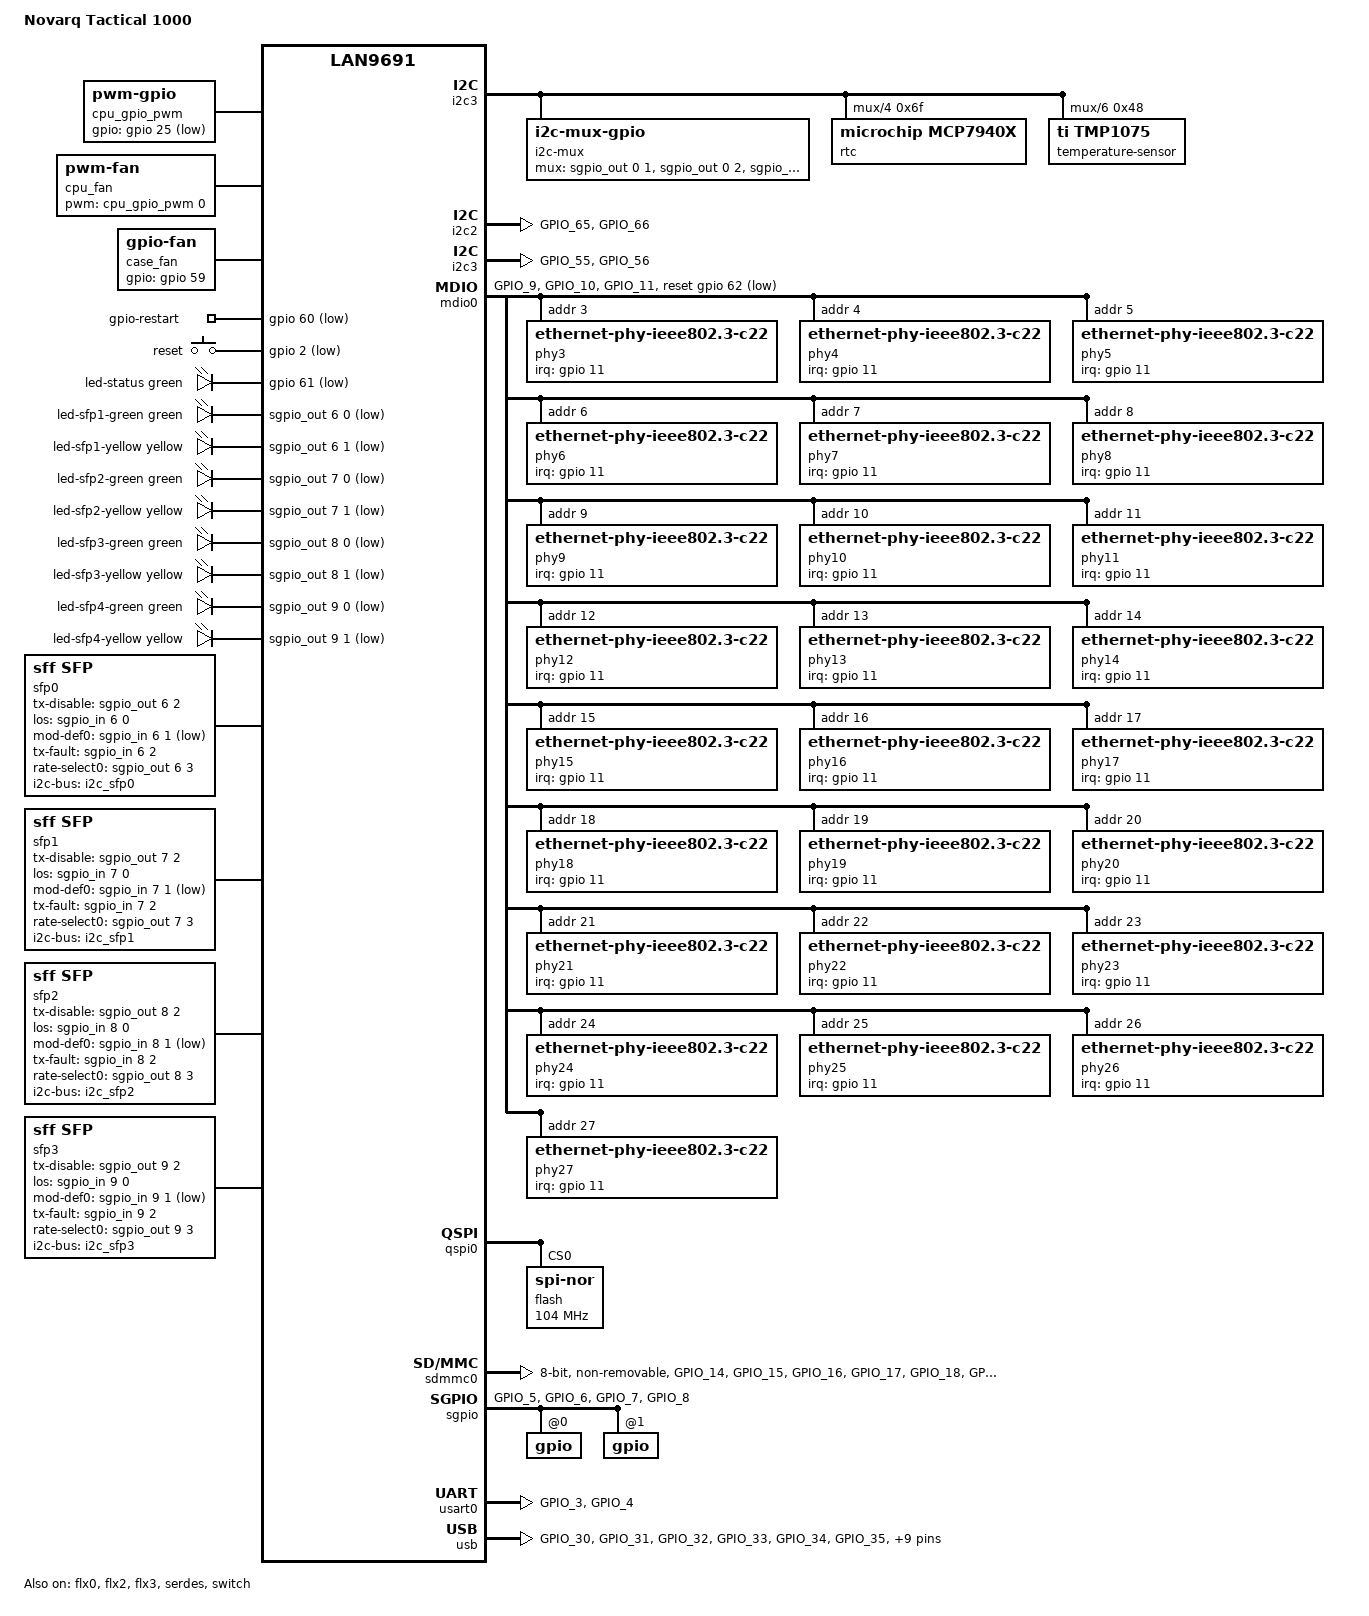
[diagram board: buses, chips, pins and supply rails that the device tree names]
// SPDX-License-Identifier: (GPL-2.0-or-later OR MIT)

/dts-v1/;

#include <dt-bindings/gpio/gpio.h>
#include <dt-bindings/input/input.h>
#include <dt-bindings/leds/common.h>
#include "lan9691.dtsi"

/ {
	model = "Novarq Tactical 1000";
	compatible = "novarq,tactical-1000", "microchip,lan9696", "microchip,lan9691";

	aliases {
		serial0 = &usart0;
	};

	chosen {
		stdout-path = "serial0:115200n8";
	};

	cpu_gpio_pwm: pwm {
		compatible = "pwm-gpio";
		gpios = <&gpio 25 GPIO_ACTIVE_LOW>;
		#pwm-cells = <3>;
	};

	cpu_fan: cpu-pwm-fan {
		compatible = "pwm-fan";
		pinctrl-names = "default";
		pinctrl-0 = <&fan_pins>;
		pwms = <&cpu_gpio_pwm 0 40000 0>;
	};

	case_fan: case-gpio-fan {
		compatible = "gpio-fan";
		#cooling-cells = <2>;
		gpios = <&gpio 59 GPIO_ACTIVE_HIGH>;
		gpio-fan,speed-map = <0	0>,
				     <2000 1>;
	};

	gpio-restart {
		compatible = "gpio-restart";
		gpios = <&gpio 60 GPIO_ACTIVE_LOW>;
		open-source;
		priority = <200>;
	};

	i2c-mux {
		compatible = "i2c-mux-gpio";
		#address-cells = <1>;
		#size-cells = <0>;
		i2c-parent = <&i2c3>;
		idle-state = <0x8>;
		mux-gpios = <&sgpio_out 0 1 GPIO_ACTIVE_HIGH>,
			    <&sgpio_out 0 2 GPIO_ACTIVE_HIGH>,
			    <&sgpio_out 0 3 GPIO_ACTIVE_HIGH>;
		settle-time-us = <100>;

		i2c_sfp2: i2c@0 {
			reg = <0x0>;
		};

		i2c_sfp1: i2c@1 {
			reg = <0x1>;
		};

		i2c_sfp0: i2c@2 {
			reg = <0x2>;
		};

		i2c_sfp3: i2c@3 {
			reg = <0x3>;
		};

		i2c_rtc: i2c@4 {
			reg = <0x4>;
			#address-cells = <1>;
			#size-cells = <0>;

			rtc@6f {
				compatible = "microchip,mcp7940x";
				reg = <0x6f>;
			};
		};

		i2c_tmp: i2c@6 {
			reg = <0x6>;
			#address-cells = <1>;
			#size-cells = <0>;

			temperature-sensor@48 {
				compatible = "ti,tmp1075";
				reg = <0x48>;
			};
		};

		i2c_poe: i2c@7 {
			reg = <0x7>;
		};
	};

	keys {
		compatible = "gpio-keys";
		pinctrl-0 = <&button_pins>;
		pinctrl-names = "default";

		key-reset {
			label = "reset";
			gpios = <&gpio 2 GPIO_ACTIVE_LOW>;
			linux,code = <KEY_RESTART>;
		};
	};

	leds {
		compatible = "gpio-leds";

		led-status {
			color = <LED_COLOR_ID_GREEN>;
			function = LED_FUNCTION_STATUS;
			gpios = <&gpio 61 GPIO_ACTIVE_LOW>;
			default-state = "on";
		};

		led-sfp1-green {
			color = <LED_COLOR_ID_GREEN>;
			function = LED_FUNCTION_LAN;
			function-enumerator = <0>;
			gpios = <&sgpio_out 6 0 GPIO_ACTIVE_LOW>;
			default-state = "off";
		};

		led-sfp1-yellow {
			color = <LED_COLOR_ID_YELLOW>;
			function = LED_FUNCTION_LAN;
			function-enumerator = <0>;
			gpios = <&sgpio_out 6 1 GPIO_ACTIVE_LOW>;
			default-state = "off";
		};

		led-sfp2-green {
			color = <LED_COLOR_ID_GREEN>;
			function = LED_FUNCTION_LAN;
			function-enumerator = <1>;
			gpios = <&sgpio_out 7 0 GPIO_ACTIVE_LOW>;
			default-state = "off";
		};

		led-sfp2-yellow {
			color = <LED_COLOR_ID_YELLOW>;
			function = LED_FUNCTION_LAN;
			function-enumerator = <1>;
			gpios = <&sgpio_out 7 1 GPIO_ACTIVE_LOW>;
			default-state = "off";
		};

		led-sfp3-green {
			color = <LED_COLOR_ID_GREEN>;
			function = LED_FUNCTION_LAN;
			function-enumerator = <2>;
			gpios = <&sgpio_out 8 0 GPIO_ACTIVE_LOW>;
			default-state = "off";
		};

		led-sfp3-yellow {
			color = <LED_COLOR_ID_YELLOW>;
			function = LED_FUNCTION_LAN;
			function-enumerator = <2>;
			gpios = <&sgpio_out 8 1 GPIO_ACTIVE_LOW>;
			default-state = "off";
		};

		led-sfp4-green {
			color = <LED_COLOR_ID_GREEN>;
			function = LED_FUNCTION_LAN;
			function-enumerator = <3>;
			gpios = <&sgpio_out 9 0 GPIO_ACTIVE_LOW>;
			default-state = "off";
		};

		led-sfp4-yellow {
			color = <LED_COLOR_ID_YELLOW>;
			function = LED_FUNCTION_LAN;
			function-enumerator = <3>;
			gpios = <&sgpio_out 9 1 GPIO_ACTIVE_LOW>;
			default-state = "off";
		};
	};

	sfp0: sfp0 {
		compatible = "sff,sfp";
		i2c-bus = <&i2c_sfp0>;
		tx-disable-gpios = <&sgpio_out 6 2 GPIO_ACTIVE_HIGH>;
		los-gpios = <&sgpio_in 6 0 GPIO_ACTIVE_HIGH>;
		mod-def0-gpios = <&sgpio_in 6 1 GPIO_ACTIVE_LOW>;
		tx-fault-gpios = <&sgpio_in 6 2 GPIO_ACTIVE_HIGH>;
		/* RS1 is internally tied to RS0 */
		rate-select0-gpios = <&sgpio_out 6 3 GPIO_ACTIVE_HIGH>;
	};

	sfp1: sfp1 {
		compatible = "sff,sfp";
		i2c-bus = <&i2c_sfp1>;
		tx-disable-gpios = <&sgpio_out 7 2 GPIO_ACTIVE_HIGH>;
		los-gpios = <&sgpio_in 7 0 GPIO_ACTIVE_HIGH>;
		mod-def0-gpios = <&sgpio_in 7 1 GPIO_ACTIVE_LOW>;
		tx-fault-gpios = <&sgpio_in 7 2 GPIO_ACTIVE_HIGH>;
		/* RS1 is internally tied to RS0 */
		rate-select0-gpios = <&sgpio_out 7 3 GPIO_ACTIVE_HIGH>;
	};

	sfp2: sfp2 {
		compatible = "sff,sfp";
		i2c-bus = <&i2c_sfp2>;
		tx-disable-gpios = <&sgpio_out 8 2 GPIO_ACTIVE_HIGH>;
		los-gpios = <&sgpio_in 8 0 GPIO_ACTIVE_HIGH>;
		mod-def0-gpios = <&sgpio_in 8 1 GPIO_ACTIVE_LOW>;
		tx-fault-gpios = <&sgpio_in 8 2 GPIO_ACTIVE_HIGH>;
		/* RS1 is internally tied to RS0 */
		rate-select0-gpios = <&sgpio_out 8 3 GPIO_ACTIVE_HIGH>;
	};

	sfp3: sfp3 {
		compatible = "sff,sfp";
		i2c-bus = <&i2c_sfp3>;
		tx-disable-gpios = <&sgpio_out 9 2 GPIO_ACTIVE_HIGH>;
		los-gpios = <&sgpio_in 9 0 GPIO_ACTIVE_HIGH>;
		mod-def0-gpios = <&sgpio_in 9 1 GPIO_ACTIVE_LOW>;
		tx-fault-gpios = <&sgpio_in 9 2 GPIO_ACTIVE_HIGH>;
		/* RS1 is internally tied to RS0 */
		rate-select0-gpios = <&sgpio_out 9 3 GPIO_ACTIVE_HIGH>;
	};
};

&gpio {
	button_pins: button-pins {
		pins = "GPIO_2";
		function = "gpio";
	};

	case_fan_pins: case-fan-pins {
		pins = "GPIO_59";
		function = "gpio";
	};

	emmc_sd_pins: emmc-sd-pins {
		/* eMMC_SD - CMD, CLK, D0, D1, D2, D3, D4, D5, D6, D7, RSTN */
		pins = "GPIO_14", "GPIO_15", "GPIO_16", "GPIO_17",
		       "GPIO_18", "GPIO_19", "GPIO_20", "GPIO_21",
		       "GPIO_22", "GPIO_23", "GPIO_24";
		function = "emmc_sd";
	};

	fan_pins: fan-pins {
		pins = "GPIO_25", "GPIO_26";
		function = "gpio";
	};

	fc0_pins: fc0-pins {
		pins = "GPIO_3", "GPIO_4";
		function = "fc";
	};


	fc2_pins: fc2-pins {
		pins = "GPIO_65", "GPIO_66";
		function = "fc";
	};

	fc3_pins: fc3-pins {
		pins = "GPIO_55", "GPIO_56";
		function = "fc";
	};

	mdio_pins: mdio-pins {
		pins = "GPIO_9", "GPIO_10";
		function = "miim";
	};

	mdio_irq_pins: mdio-irq-pins {
		pins = "GPIO_11";
		function = "miim_irq";
	};

	sgpio_pins: sgpio-pins {
		/* SCK, D0, D1, LD */
		pins = "GPIO_5", "GPIO_6", "GPIO_7", "GPIO_8";
		function = "sgpio_a";
	};

	usb_ulpi_pins: usb-ulpi-pins {
		pins = "GPIO_30", "GPIO_31", "GPIO_32", "GPIO_33",
		       "GPIO_34", "GPIO_35", "GPIO_36", "GPIO_37",
		       "GPIO_38", "GPIO_39", "GPIO_40", "GPIO_41";
		function = "usb_ulpi";
	};

	usb_rst_pins: usb-rst-pins {
		pins = "GPIO_12";
		function = "usb2phy_rst";
	};

	usb_over_pins: usb-over-pins {
		pins = "GPIO_13";
		function = "usb_over_detect";
	};

	usb_power_pins: usb-power-pins {
		pins = "GPIO_1";
		function = "usb_power";
	};
};

&flx0 {
	atmel,flexcom-mode = <ATMEL_FLEXCOM_MODE_USART>;
	status = "okay";
};

&flx2 {
	atmel,flexcom-mode = <ATMEL_FLEXCOM_MODE_TWI>;
	status = "okay";
};

&flx3 {
	atmel,flexcom-mode = <ATMEL_FLEXCOM_MODE_TWI>;
	status = "okay";
};

&i2c2 {
	pinctrl-0 = <&fc2_pins>;
	pinctrl-names = "default";
	i2c-analog-filter;
	i2c-digital-filter;
	i2c-digital-filter-width-ns = <35>;
	i2c-sda-hold-time-ns = <1500>;
	status = "okay";

	/* ATECC608C lives here on 0x60 */
};

&i2c3 {
	pinctrl-0 = <&fc3_pins>;
	pinctrl-names = "default";
	i2c-analog-filter;
	i2c-digital-filter;
	i2c-digital-filter-width-ns = <35>;
	i2c-sda-hold-time-ns = <1500>;
	status = "okay";
};

&mdio0 {
	pinctrl-0 = <&mdio_pins>, <&mdio_irq_pins>;
	pinctrl-names = "default";
	reset-gpios = <&gpio 62 GPIO_ACTIVE_LOW>;
	status = "okay";

	phy3: phy@3 {
		compatible = "ethernet-phy-ieee802.3-c22";
		reg = <3>;
		interrupts = <11 IRQ_TYPE_LEVEL_LOW>;
		interrupt-parent = <&gpio>;
	};

	phy4: phy@4 {
		compatible = "ethernet-phy-ieee802.3-c22";
		reg = <4>;
		interrupts = <11 IRQ_TYPE_LEVEL_LOW>;
		interrupt-parent = <&gpio>;
	};

	phy5: phy@5 {
		compatible = "ethernet-phy-ieee802.3-c22";
		reg = <5>;
		interrupts = <11 IRQ_TYPE_LEVEL_LOW>;
		interrupt-parent = <&gpio>;
	};

	phy6: phy@6 {
		compatible = "ethernet-phy-ieee802.3-c22";
		reg = <6>;
		interrupts = <11 IRQ_TYPE_LEVEL_LOW>;
		interrupt-parent = <&gpio>;
	};

	phy7: phy@7 {
		compatible = "ethernet-phy-ieee802.3-c22";
		reg = <7>;
		interrupts = <11 IRQ_TYPE_LEVEL_LOW>;
		interrupt-parent = <&gpio>;
	};

	phy8: phy@8 {
		compatible = "ethernet-phy-ieee802.3-c22";
		reg = <8>;
		interrupts = <11 IRQ_TYPE_LEVEL_LOW>;
		interrupt-parent = <&gpio>;
	};

	phy9: phy@9 {
		compatible = "ethernet-phy-ieee802.3-c22";
		reg = <9>;
		interrupts = <11 IRQ_TYPE_LEVEL_LOW>;
		interrupt-parent = <&gpio>;
	};

	phy10: phy@10 {
		compatible = "ethernet-phy-ieee802.3-c22";
		reg = <10>;
		interrupts = <11 IRQ_TYPE_LEVEL_LOW>;
		interrupt-parent = <&gpio>;
	};

	phy11: phy@11 {
		compatible = "ethernet-phy-ieee802.3-c22";
		reg = <11>;
		interrupts = <11 IRQ_TYPE_LEVEL_LOW>;
		interrupt-parent = <&gpio>;
	};

	phy12: phy@12 {
		compatible = "ethernet-phy-ieee802.3-c22";
		reg = <12>;
		interrupts = <11 IRQ_TYPE_LEVEL_LOW>;
		interrupt-parent = <&gpio>;
	};

	phy13: phy@13 {
		compatible = "ethernet-phy-ieee802.3-c22";
		reg = <13>;
		interrupts = <11 IRQ_TYPE_LEVEL_LOW>;
		interrupt-parent = <&gpio>;
	};

	phy14: phy@14 {
		compatible = "ethernet-phy-ieee802.3-c22";
		reg = <14>;
		interrupts = <11 IRQ_TYPE_LEVEL_LOW>;
		interrupt-parent = <&gpio>;
	};

	phy15: phy@15 {
		compatible = "ethernet-phy-ieee802.3-c22";
		reg = <15>;
		interrupts = <11 IRQ_TYPE_LEVEL_LOW>;
		interrupt-parent = <&gpio>;
	};

	phy16: phy@16 {
		compatible = "ethernet-phy-ieee802.3-c22";
		reg = <16>;
		interrupts = <11 IRQ_TYPE_LEVEL_LOW>;
		interrupt-parent = <&gpio>;
	};

	phy17: phy@17 {
		compatible = "ethernet-phy-ieee802.3-c22";
		reg = <17>;
		interrupts = <11 IRQ_TYPE_LEVEL_LOW>;
		interrupt-parent = <&gpio>;
	};

	phy18: phy@18 {
		compatible = "ethernet-phy-ieee802.3-c22";
		reg = <18>;
		interrupts = <11 IRQ_TYPE_LEVEL_LOW>;
		interrupt-parent = <&gpio>;
	};

	phy19: phy@19 {
		compatible = "ethernet-phy-ieee802.3-c22";
		reg = <19>;
		interrupts = <11 IRQ_TYPE_LEVEL_LOW>;
		interrupt-parent = <&gpio>;
	};

	phy20: phy@20 {
		compatible = "ethernet-phy-ieee802.3-c22";
		reg = <20>;
		interrupts = <11 IRQ_TYPE_LEVEL_LOW>;
		interrupt-parent = <&gpio>;
	};

	phy21: phy@21 {
		compatible = "ethernet-phy-ieee802.3-c22";
		reg = <21>;
		interrupts = <11 IRQ_TYPE_LEVEL_LOW>;
		interrupt-parent = <&gpio>;
	};

	phy22: phy@22 {
		compatible = "ethernet-phy-ieee802.3-c22";
		reg = <22>;
		interrupts = <11 IRQ_TYPE_LEVEL_LOW>;
		interrupt-parent = <&gpio>;
	};

	phy23: phy@23 {
		compatible = "ethernet-phy-ieee802.3-c22";
		reg = <23>;
		interrupts = <11 IRQ_TYPE_LEVEL_LOW>;
		interrupt-parent = <&gpio>;
	};

	phy24: phy@24 {
		compatible = "ethernet-phy-ieee802.3-c22";
		reg = <24>;
		interrupts = <11 IRQ_TYPE_LEVEL_LOW>;
		interrupt-parent = <&gpio>;
	};

	phy25: phy@25 {
		compatible = "ethernet-phy-ieee802.3-c22";
		reg = <25>;
		interrupts = <11 IRQ_TYPE_LEVEL_LOW>;
		interrupt-parent = <&gpio>;
	};

	phy26: phy@26 {
		compatible = "ethernet-phy-ieee802.3-c22";
		reg = <26>;
		interrupts = <11 IRQ_TYPE_LEVEL_LOW>;
		interrupt-parent = <&gpio>;
	};

	phy27: phy@27 {
		compatible = "ethernet-phy-ieee802.3-c22";
		reg = <27>;
		interrupts = <11 IRQ_TYPE_LEVEL_LOW>;
		interrupt-parent = <&gpio>;
	};
};

&qspi0 {
	status = "okay";

	flash@0 {
		compatible = "jedec,spi-nor";
		reg = <0>;
		spi-max-frequency = <104000000>;
		#address-cells = <1>;
		#size-cells = <1>;
		spi-tx-bus-width = <1>;
		spi-rx-bus-width = <4>;
		m25p,fast-read;
	};
};

&serdes {
	status = "okay";
};

&sdmmc0 {
	pinctrl-0 = <&emmc_sd_pins>;
	pinctrl-names = "default";
	bus-width = <8>;
	mmc-ddr-1_8v;
	non-removable;
	disable-wp;
	status = "okay";
};

&serdes {
	status = "okay";
};

&sgpio {
	pinctrl-0 = <&sgpio_pins>;
	pinctrl-names = "default";
	microchip,sgpio-port-ranges = <0 1>, <6 9>;
	status = "okay";

	gpio@0 {
		ngpios = <128>;
	};
	gpio@1 {
		ngpios = <128>;
	};
};

&switch {
	status = "okay";

	ethernet-ports {
		#address-cells = <1>;
		#size-cells = <0>;

		port0: port@0 {
			reg = <0>;
			phy-handle = <&phy4>;
			phy-mode = "qsgmii";
			phys = <&serdes 0>;
			microchip,bandwidth = <1000>;
			openwrt,netdev-name = "lan4";
		};

		port1: port@1 {
			reg = <1>;
			phy-handle = <&phy5>;
			phy-mode = "qsgmii";
			phys = <&serdes 0>;
			microchip,bandwidth = <1000>;
			openwrt,netdev-name = "lan3";
		};

		port2: port@2 {
			reg = <2>;
			phy-handle = <&phy6>;
			phy-mode = "qsgmii";
			phys = <&serdes 0>;
			microchip,bandwidth = <1000>;
			openwrt,netdev-name = "lan2";
		};

		port3: port@3 {
			reg = <3>;
			phy-handle = <&phy7>;
			phy-mode = "qsgmii";
			phys = <&serdes 0>;
			microchip,bandwidth = <1000>;
			openwrt,netdev-name = "lan1";
		};

		port4: port@4 {
			reg = <4>;
			phy-handle = <&phy8>;
			phy-mode = "qsgmii";
			phys = <&serdes 1>;
			microchip,bandwidth = <1000>;
			openwrt,netdev-name = "lan8";
		};

		port5: port@5 {
			reg = <5>;
			phy-handle = <&phy9>;
			phy-mode = "qsgmii";
			phys = <&serdes 1>;
			microchip,bandwidth = <1000>;
			openwrt,netdev-name = "lan7";
		};

		port6: port@6 {
			reg = <6>;
			phy-handle = <&phy10>;
			phy-mode = "qsgmii";
			phys = <&serdes 1>;
			microchip,bandwidth = <1000>;
			openwrt,netdev-name = "lan6";
		};

		port7: port@7 {
			reg = <7>;
			phy-handle = <&phy11>;
			phy-mode = "qsgmii";
			phys = <&serdes 1>;
			microchip,bandwidth = <1000>;
			openwrt,netdev-name = "lan5";
		};

		port8: port@8 {
			reg = <8>;
			phy-handle = <&phy12>;
			phy-mode = "qsgmii";
			phys = <&serdes 2>;
			microchip,bandwidth = <1000>;
			openwrt,netdev-name = "lan12";
		};

		port9: port@9 {
			reg = <9>;
			phy-handle = <&phy13>;
			phy-mode = "qsgmii";
			phys = <&serdes 2>;
			microchip,bandwidth = <1000>;
			openwrt,netdev-name = "lan11";
		};

		port10: port@10 {
			reg = <10>;
			phy-handle = <&phy14>;
			phy-mode = "qsgmii";
			phys = <&serdes 2>;
			microchip,bandwidth = <1000>;
			openwrt,netdev-name = "lan10";
		};

		port11: port@11 {
			reg = <11>;
			phy-handle = <&phy15>;
			phy-mode = "qsgmii";
			phys = <&serdes 2>;
			microchip,bandwidth = <1000>;
			openwrt,netdev-name = "lan9";
		};

		port12: port@12 {
			reg = <12>;
			phy-handle = <&phy16>;
			phy-mode = "qsgmii";
			phys = <&serdes 3>;
			microchip,bandwidth = <1000>;
			openwrt,netdev-name = "lan16";
		};

		port13: port@13 {
			reg = <13>;
			phy-handle = <&phy17>;
			phy-mode = "qsgmii";
			phys = <&serdes 3>;
			microchip,bandwidth = <1000>;
			openwrt,netdev-name = "lan15";
		};

		port14: port@14 {
			reg = <14>;
			phy-handle = <&phy18>;
			phy-mode = "qsgmii";
			phys = <&serdes 3>;
			microchip,bandwidth = <1000>;
			openwrt,netdev-name = "lan14";
		};

		port15: port@15 {
			reg = <15>;
			phy-handle = <&phy19>;
			phy-mode = "qsgmii";
			phys = <&serdes 3>;
			microchip,bandwidth = <1000>;
			openwrt,netdev-name = "lan13";
		};

		port16: port@16 {
			reg = <16>;
			phy-handle = <&phy20>;
			phy-mode = "qsgmii";
			phys = <&serdes 4>;
			microchip,bandwidth = <1000>;
			openwrt,netdev-name = "lan20";
		};

		port17: port@17 {
			reg = <17>;
			phy-handle = <&phy21>;
			phy-mode = "qsgmii";
			phys = <&serdes 4>;
			microchip,bandwidth = <1000>;
			openwrt,netdev-name = "lan19";
		};

		port18: port@18 {
			reg = <18>;
			phy-handle = <&phy22>;
			phy-mode = "qsgmii";
			phys = <&serdes 4>;
			microchip,bandwidth = <1000>;
			openwrt,netdev-name = "lan18";
		};

		port19: port@19 {
			reg = <19>;
			phy-handle = <&phy23>;
			phy-mode = "qsgmii";
			phys = <&serdes 4>;
			microchip,bandwidth = <1000>;
			openwrt,netdev-name = "lan17";
		};

		port20: port@20 {
			reg = <20>;
			phy-handle = <&phy24>;
			phy-mode = "qsgmii";
			phys = <&serdes 5>;
			microchip,bandwidth = <1000>;
			openwrt,netdev-name = "lan24";
		};

		port21: port@21 {
			reg = <21>;
			phy-handle = <&phy25>;
			phy-mode = "qsgmii";
			phys = <&serdes 5>;
			microchip,bandwidth = <1000>;
			openwrt,netdev-name = "lan23";
		};

		port22: port@22 {
			reg = <22>;
			phy-handle = <&phy26>;
			phy-mode = "qsgmii";
			phys = <&serdes 5>;
			microchip,bandwidth = <1000>;
			openwrt,netdev-name = "lan22";
		};

		port23: port@23 {
			reg = <23>;
			phy-handle = <&phy27>;
			phy-mode = "qsgmii";
			phys = <&serdes 5>;
			microchip,bandwidth = <1000>;
			openwrt,netdev-name = "lan21";
		};

		port24: port@24 {
			reg = <24>;
			phys = <&serdes 6>;
			phy-mode = "10gbase-r";
			sfp = <&sfp0>;
			managed = "in-band-status";
			microchip,bandwidth = <10000>;
			microchip,sd-sgpio = <24>;
			openwrt,netdev-name = "sfp1";
		};

		port25: port@25 {
			reg = <25>;
			phys = <&serdes 7>;
			phy-mode = "10gbase-r";
			sfp = <&sfp1>;
			managed = "in-band-status";
			microchip,bandwidth = <10000>;
			microchip,sd-sgpio = <28>;
			openwrt,netdev-name = "sfp2";
		};

		port26: port@26 {
			reg = <26>;
			phys = <&serdes 8>;
			phy-mode = "10gbase-r";
			sfp = <&sfp2>;
			managed = "in-band-status";
			microchip,bandwidth = <10000>;
			microchip,sd-sgpio = <32>;
			openwrt,netdev-name = "sfp3";
		};

		port27: port@27 {
			reg = <27>;
			phys = <&serdes 9>;
			phy-mode = "10gbase-r";
			sfp = <&sfp3>;
			managed = "in-band-status";
			microchip,bandwidth = <10000>;
			microchip,sd-sgpio = <36>;
			openwrt,netdev-name = "sfp4";
		};

		port29: port@29 {
			reg = <29>;
			phys = <&serdes 11>;
			phy-handle = <&phy3>;
			phy-mode = "rgmii-id";
			microchip,bandwidth = <1000>;
			openwrt,netdev-name = "mgmt";
		};
	};
};

&usart0 {
	pinctrl-0 = <&fc0_pins>;
	pinctrl-names = "default";
	status = "okay";
};

&usb {
	pinctrl-0 = <&usb_ulpi_pins>, <&usb_rst_pins>, <&usb_over_pins>, <&usb_power_pins>;
	pinctrl-names = "default";
	status = "okay";
};
